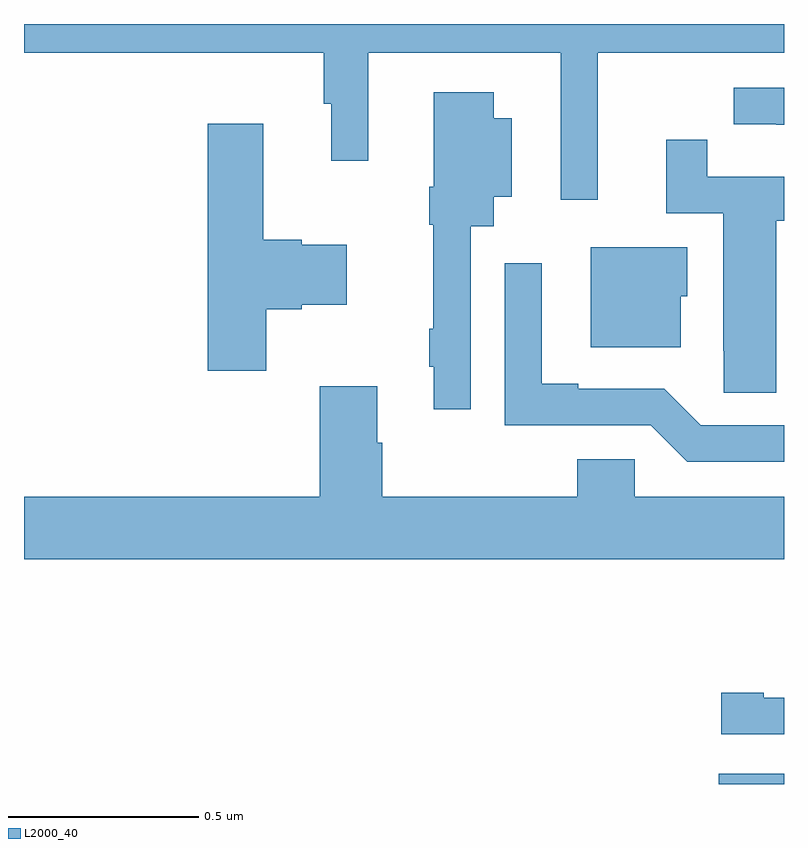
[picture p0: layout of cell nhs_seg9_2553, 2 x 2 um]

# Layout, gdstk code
import gdstk
lib = gdstk.Library(unit=1e-6, precision=1e-09)
def R(c, l, rs):  # rectangles x0, y0, x1, y1
    for r in rs: c.add(gdstk.rectangle(r[:2], r[2:], *l))
def P(c, l, *ps):  # polygons
    for p in ps: c.add(gdstk.Polygon(p, *l))
L2000_40 = (2000, 40)

nhs_seg9_2553 = lib.new_cell('nhs_seg9_2553')
R(nhs_seg9_2553, L2000_40, [(143.828,1190.5,144,1190.527)])
P(nhs_seg9_2553, L2000_40, [(143.51,1192.424),(144,1192.424),(144,1192.5),(142,1192.5),(142,1192.424),(142.789,1192.424),(142.789,1192.29),(142.808,1192.29),(142.808,1192.14),(142.906,1192.14),(142.906,1192.424),(143.412,1192.424),(143.412,1192.038),(143.51,1192.038)],
  [(144,1192.332),(143.868,1192.332),(143.868,1192.236),(143.98,1192.236),(143.98,1192.235),(144,1192.235)],
  [(143.175,1191.968),(143.236,1191.968),(143.236,1192.046),(143.284,1192.046),(143.284,1192.252),(143.236,1192.252),(143.236,1192.321),(143.078,1192.321),(143.078,1192.072),(143.067,1192.072),(143.067,1191.972),(143.077,1191.972),(143.077,1191.698),(143.067,1191.698),(143.067,1191.598),(143.078,1191.598),(143.078,1191.486),(143.175,1191.486)],
  [(142.638,1191.749),(142.731,1191.749),(142.731,1191.761),(142.849,1191.761),(142.849,1191.919),(142.731,1191.919),(142.731,1191.932),(142.63,1191.932),(142.63,1192.237),(142.484,1192.237),(142.484,1191.588),(142.638,1191.588)],
  [(143.98,1191.982),(144,1191.982),(144,1192.098),(143.798,1192.098),(143.798,1192.195),(143.69,1192.195),(143.69,1192.002),(143.84,1192.002),(143.84,1191.64),(143.841,1191.64),(143.841,1191.529),(143.98,1191.529)],
  [(143.728,1191.783),(143.746,1191.783),(143.746,1191.913),(143.492,1191.913),(143.492,1191.65),(143.728,1191.65)],
  [(144,1191.444),(143.781,1191.444),(143.685,1191.54),(143.458,1191.54),(143.458,1191.553),(143.362,1191.553),(143.362,1191.871),(143.265,1191.871),(143.265,1191.444),(143.649,1191.444),(143.745,1191.348),(144,1191.348)],
  [(144,1191.256),(143.607,1191.256),(143.607,1191.354),(143.456,1191.354),(143.456,1191.256),(142.943,1191.256),(142.943,1191.398),(142.93,1191.398),(142.93,1191.547),(142.778,1191.547),(142.778,1191.256),(142,1191.256),(142,1191.092),(144,1191.092)],
  [(144,1190.727),(143.947,1190.727),(143.947,1190.74),(143.835,1190.74),(143.835,1190.631),(144,1190.631)])

lib.write_gds('nhs_seg9_2553.gds')
